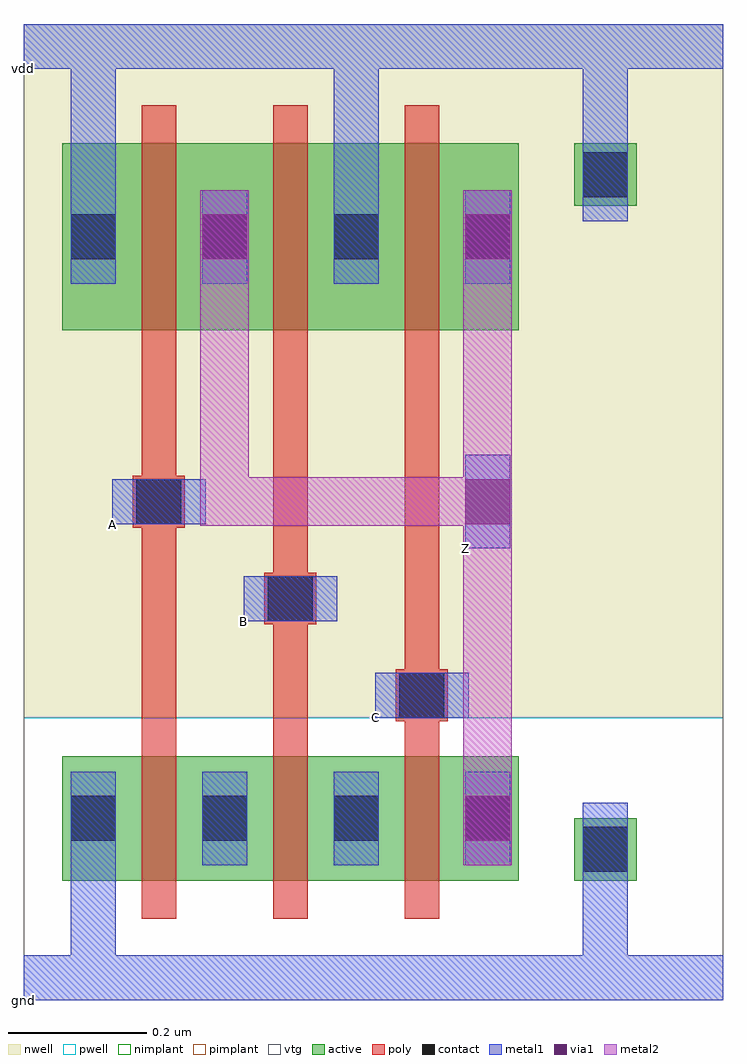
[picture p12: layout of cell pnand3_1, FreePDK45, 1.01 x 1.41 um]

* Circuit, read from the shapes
.subckt pnand3_1 A B C Z gnd vdd
M1 nmos_m1_w0_18_a_p_3/D A gnd gnd nfet w=0.18u l=0.05u
M2 nmos_m1_w0_18_a_p_4/D B nmos_m1_w0_18_a_p_3/D gnd nfet w=0.18u l=0.05u
M3 Z C nmos_m1_w0_18_a_p_4/D gnd nfet w=0.18u l=0.05u
M4 Z A vdd vdd pfet w=0.27u l=0.05u
M5 vdd B Z vdd pfet w=0.27u l=0.05u
M6 Z C vdd vdd pfet w=0.27u l=0.05u
.ends

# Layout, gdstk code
from math import pi, radians
import gdstk
lib = gdstk.Library(unit=1e-6, precision=5e-10)
def R(c, l, rs):  # rectangles x0, y0, x1, y1
    for r in rs: c.add(gdstk.rectangle(r[:2], r[2:], *l))
def A(c, l, x, y, w, h, nx, ny, dx, dy):  # array of equal rectangles
    R(c, l, [(x+i*dx, y+j*dy, x+i*dx+w, y+j*dy+h) for i in range(nx) for j in range(ny)])
active = (1, 0)
pwell = (2, 0)
nwell = (3, 0)
nimplant = (4, 0)
pimplant = (5, 0)
vtg = (6, 0)
poly = (9, 0)
contact = (10, 0)
metal1 = (11, 0)
via1 = (12, 0)
metal2 = (13, 0)

active_contact_metal1_1x = lib.new_cell('active_contact_metal1_1x1_pn')
R(active_contact_metal1_1x, active, [(0,0.0225,0.09,0.1125), (0,0.0225,0.09,0.1125)])
R(active_contact_metal1_1x, nwell, [(-0.055,-0.0325,0.145,0.1675), (-0.055,-0.0325,0.145,0.1675)])
R(active_contact_metal1_1x, pimplant, [(0,0.0225,0.09,0.1125), (0,0.0225,0.09,0.1125)])
R(active_contact_metal1_1x, contact, [(0.0125,0.035,0.0775,0.1), (0.0125,0.035,0.0775,0.1)])
R(active_contact_metal1_1x, metal1, [(0.0125,0,0.0775,0.135), (0.0125,0,0.0775,0.135)])

pmos_m1_w0_27_a_p = lib.new_cell('pmos_m1_w0_27_a_p')
R(pmos_m1_w0_27_a_p, active, [(0,0,0.28,0.27), (0,0,0.28,0.27)])
R(pmos_m1_w0_27_a_p, nwell, [(-0.055,-0.055,0.335,0.325), (-0.055,-0.055,0.335,0.325)])
R(pmos_m1_w0_27_a_p, pimplant, [(0,0,0.28,0.27), (0,0,0.28,0.27)])
R(pmos_m1_w0_27_a_p, vtg, [(-0.055,-0.055,0.335,0.325), (-0.055,-0.055,0.335,0.325)])
R(pmos_m1_w0_27_a_p, poly, [(0.115,-0.055,0.165,0.325), (0.115,-0.055,0.165,0.325), (0.115,-0.055,0.165,0.325), (0.115,-0.055,0.165,0.325)])
R(pmos_m1_w0_27_a_p, metal1, [(0.0125,0.0675,0.0775,0.2025), (0.0125,0.0675,0.0775,0.2025), (0.2025,0.0675,0.2675,0.2025), (0.2025,0.0675,0.2675,0.2025)])
pmos_m1_w0_27_a_p.add(gdstk.Reference(active_contact_metal1_1x, (0,0.0675)))
pmos_m1_w0_27_a_p.add(gdstk.Reference(active_contact_metal1_1x, (0.19,0.0675)))
pmos_m1_w0_27_a_p.add(gdstk.Reference(active_contact_metal1_1x, (0,0.0675)))
pmos_m1_w0_27_a_p.add(gdstk.Reference(active_contact_metal1_1x, (0.19,0.0675)))
pmos_m1_w0_27_a_p.add(gdstk.Label('S', (0.0125,0.0675), layer=11, texttype=0))
pmos_m1_w0_27_a_p.add(gdstk.Label('D', (0.2025,0.0675), layer=11, texttype=0))
pmos_m1_w0_27_a_p.add(gdstk.Label('G', (0.115,-0.055), layer=9, texttype=0))
pmos_m1_w0_27_a_p.add(gdstk.Label('S', (0.0125,0.0675), layer=11, texttype=0))
pmos_m1_w0_27_a_p.add(gdstk.Label('D', (0.2025,0.0675), layer=11, texttype=0))
pmos_m1_w0_27_a_p.add(gdstk.Label('G', (0.115,-0.055), layer=9, texttype=0))

c_active_contact_metal1_1x = lib.new_cell('active_contact_metal1_1x1_np')
R(c_active_contact_metal1_1x, active, [(0,0.0225,0.09,0.1125)])
R(c_active_contact_metal1_1x, pwell, [(-0.055,-0.0325,0.145,0.1675)])
R(c_active_contact_metal1_1x, nimplant, [(0,0.0225,0.09,0.1125)])
R(c_active_contact_metal1_1x, contact, [(0.0125,0.035,0.0775,0.1)])
R(c_active_contact_metal1_1x, metal1, [(0.0125,0,0.0775,0.135)])

nmos_m1_w0_18_a_p = lib.new_cell('nmos_m1_w0_18_a_p')
R(nmos_m1_w0_18_a_p, active, [(0,0,0.28,0.18), (0,0,0.28,0.18)])
R(nmos_m1_w0_18_a_p, pwell, [(-0.055,-0.055,0.335,0.235), (-0.055,-0.055,0.335,0.235)])
R(nmos_m1_w0_18_a_p, nimplant, [(0,0,0.28,0.18), (0,0,0.28,0.18)])
R(nmos_m1_w0_18_a_p, vtg, [(-0.055,-0.055,0.335,0.235), (-0.055,-0.055,0.335,0.235)])
R(nmos_m1_w0_18_a_p, poly, [(0.115,-0.055,0.165,0.235), (0.115,-0.055,0.165,0.235), (0.115,-0.055,0.165,0.235), (0.115,-0.055,0.165,0.235)])
R(nmos_m1_w0_18_a_p, metal1, [(0.0125,0.0225,0.0775,0.1575), (0.0125,0.0225,0.0775,0.1575), (0.2025,0.0225,0.2675,0.1575), (0.2025,0.0225,0.2675,0.1575)])
nmos_m1_w0_18_a_p.add(gdstk.Reference(c_active_contact_metal1_1x, (0,0.0225)))
nmos_m1_w0_18_a_p.add(gdstk.Reference(c_active_contact_metal1_1x, (0.19,0.0225)))
nmos_m1_w0_18_a_p.add(gdstk.Reference(c_active_contact_metal1_1x, (0,0.0225)))
nmos_m1_w0_18_a_p.add(gdstk.Reference(c_active_contact_metal1_1x, (0.19,0.0225)))
nmos_m1_w0_18_a_p.add(gdstk.Label('S', (0.0125,0.0225), layer=11, texttype=0))
nmos_m1_w0_18_a_p.add(gdstk.Label('D', (0.2025,0.0225), layer=11, texttype=0))
nmos_m1_w0_18_a_p.add(gdstk.Label('G', (0.115,-0.055), layer=9, texttype=0))
nmos_m1_w0_18_a_p.add(gdstk.Label('S', (0.0125,0.0225), layer=11, texttype=0))
nmos_m1_w0_18_a_p.add(gdstk.Label('D', (0.2025,0.0225), layer=11, texttype=0))
nmos_m1_w0_18_a_p.add(gdstk.Label('G', (0.115,-0.055), layer=9, texttype=0))

c_active_contact_metal1_1x_ = lib.new_cell('active_contact_metal1_1x1_nn')
R(c_active_contact_metal1_1x_, active, [(0,0.0225,0.09,0.1125), (0,0.0225,0.09,0.1125)])
R(c_active_contact_metal1_1x_, nwell, [(-0.055,-0.0325,0.145,0.1675), (-0.055,-0.0325,0.145,0.1675)])
R(c_active_contact_metal1_1x_, nimplant, [(0,0.0225,0.09,0.1125), (0,0.0225,0.09,0.1125)])
R(c_active_contact_metal1_1x_, contact, [(0.0125,0.035,0.0775,0.1), (0.0125,0.035,0.0775,0.1)])
R(c_active_contact_metal1_1x_, metal1, [(0.0125,0,0.0775,0.135), (0.0125,0,0.0775,0.135)])

c_active_contact_metal1_1x__ = lib.new_cell('active_contact_metal1_1x1_pp')
R(c_active_contact_metal1_1x__, active, [(0,0.0225,0.09,0.1125)])
R(c_active_contact_metal1_1x__, pwell, [(-0.055,-0.0325,0.145,0.1675)])
R(c_active_contact_metal1_1x__, pimplant, [(0,0.0225,0.09,0.1125)])
R(c_active_contact_metal1_1x__, contact, [(0.0125,0.035,0.0775,0.1)])
R(c_active_contact_metal1_1x__, metal1, [(0.0125,0,0.0775,0.135)])

poly_contact_metal1_1x1 = lib.new_cell('poly_contact_metal1_1x1')
R(poly_contact_metal1_1x1, poly, [(0,0.03,0.075,0.105), (0,0.03,0.075,0.105)])
R(poly_contact_metal1_1x1, contact, [(0.005,0.035,0.07,0.1), (0.005,0.035,0.07,0.1)])
R(poly_contact_metal1_1x1, metal1, [(0.005,0,0.07,0.135), (0.005,0,0.07,0.135)])

metal1_via1_metal2_1x1 = lib.new_cell('metal1_via1_metal2_1x1')
R(metal1_via1_metal2_1x1, metal1, [(0.0025,0,0.0675,0.135), (0.0025,0,0.0675,0.135)])
R(metal1_via1_metal2_1x1, via1, [(0.0025,0.035,0.0675,0.1), (0.0025,0.035,0.0675,0.1)])
R(metal1_via1_metal2_1x1, metal2, [(0,0,0.07,0.135), (0,0,0.07,0.135)])

pnand3_1 = lib.new_cell('pnand3_1')
R(pnand3_1, pwell, [(0,-0.0325,1.01,0.375)])
R(pnand3_1, nwell, [(0,0.375,1.01,1.3775)])
R(pnand3_1, vtg, [(0,-0.0325,1.01,0.375), (0,0.375,1.01,1.3775)])
A(pnand3_1, poly, 0.17, 0.085, 0.05, 0.795, 3, 1, 0.19, 0)
R(pnand3_1, poly, [(0.55,0.37,0.575,0.445), (0.36,0.51,0.385,0.585), (0.17,0.65,0.195,0.725)])
R(pnand3_1, metal1, [(0,-0.0325,1.01,0.0325), (0.0675,-0.0325,0.1325,0.1625), (0.8075,0,0.8725,0.185), (0.5075,0.375,0.6425,0.44), (0.3175,0.515,0.4525,0.58), (0.6375,0.62,0.7025,0.755), (0.1275,0.655,0.2625,0.72), (0.0675,1.0025,0.1325,1.3775), (0.4475,1.0025,0.5125,1.3775), (0.8075,1.16,0.8725,1.345), (0,1.3125,1.01,1.3775)])
R(pnand3_1, metal2, [(0.635,0.2975,0.705,1.0025), (0.635,0.2975,0.705,0.6875), (0.255,0.6525,0.325,0.7225), (0.29,0.6525,0.67,0.7225), (0.635,0.6525,0.705,0.7225), (0.255,0.6875,0.325,1.0025)])
pnand3_1.add(gdstk.Reference(pmos_m1_w0_27_a_p, (0.055,0.935)))
pnand3_1.add(gdstk.Reference(pmos_m1_w0_27_a_p, (0.245,0.935)))
pnand3_1.add(gdstk.Reference(pmos_m1_w0_27_a_p, (0.435,0.935)))
pnand3_1.add(gdstk.Reference(nmos_m1_w0_18_a_p, (0.055,0.14)))
pnand3_1.add(gdstk.Reference(nmos_m1_w0_18_a_p, (0.245,0.14)))
pnand3_1.add(gdstk.Reference(nmos_m1_w0_18_a_p, (0.435,0.14)))
pnand3_1.add(gdstk.Reference(c_active_contact_metal1_1x_, (0.795,1.0925)))
pnand3_1.add(gdstk.Reference(c_active_contact_metal1_1x__, (0.795,0.1175)))
pnand3_1.add(gdstk.Reference(poly_contact_metal1_1x1, (0.6425,0.37), rotation=pi/2))
pnand3_1.add(gdstk.Reference(poly_contact_metal1_1x1, (0.4525,0.51), rotation=pi/2))
pnand3_1.add(gdstk.Reference(poly_contact_metal1_1x1, (0.2625,0.65), rotation=pi/2))
pnand3_1.add(gdstk.Reference(metal1_via1_metal2_1x1, (0.255,1.0025)))
pnand3_1.add(gdstk.Reference(metal1_via1_metal2_1x1, (0.635,1.0025)))
pnand3_1.add(gdstk.Reference(metal1_via1_metal2_1x1, (0.635,0.1625)))
pnand3_1.add(gdstk.Reference(metal1_via1_metal2_1x1, (0.635,0.62)))
pnand3_1.add(gdstk.Label('A', (0.1275,0.655), layer=11, texttype=0))
pnand3_1.add(gdstk.Label('C', (0.5075,0.375), layer=11, texttype=0))
pnand3_1.add(gdstk.Label('B', (0.3175,0.515), layer=11, texttype=0))
pnand3_1.add(gdstk.Label('vdd', (0,1.3125), layer=11, texttype=0))
pnand3_1.add(gdstk.Label('gnd', (0,-0.0325), layer=11, texttype=0))
pnand3_1.add(gdstk.Label('Z', (0.6375,0.62), layer=11, texttype=0))

lib.write_gds('pnand3_1.gds')
